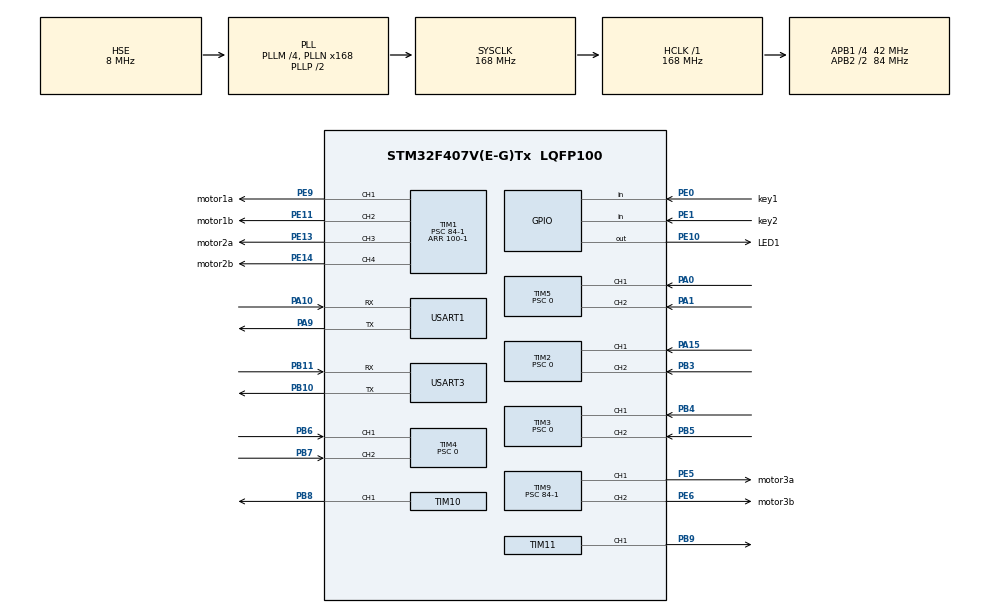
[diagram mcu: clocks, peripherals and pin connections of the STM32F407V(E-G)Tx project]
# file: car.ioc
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Mcu.Family=STM32F4
Mcu.Name=STM32F407V(E-G)Tx
Mcu.Package=LQFP100
NVIC.PriorityGroup=NVIC_PRIORITYGROUP_4
NVIC.TIM6_DAC_IRQn=true\:2\:0\:true\:false\:true\:true\:true\:true
NVIC.TIM7_IRQn=true\:0\:0\:false\:false\:true\:true\:true\:true
NVIC.USART1_IRQn=true\:0\:0\:false\:false\:true\:true\:true\:true
PA0-WKUP.GPIO_PuPd=GPIO_PULLUP
PA0-WKUP.Signal=S_TIM5_CH1
PA1.GPIO_PuPd=GPIO_PULLUP
PA1.Signal=S_TIM5_CH2
PA10.Mode=Asynchronous
PA10.Signal=USART1_RX
PA13.Mode=Serial_Wire
PA13.Signal=SYS_JTMS-SWDIO
PA14.Mode=Serial_Wire
PA14.Signal=SYS_JTCK-SWCLK
PA15.GPIO_PuPd=GPIO_PULLUP
PA15.Signal=S_TIM2_CH1_ETR
PA9.Mode=Asynchronous
PA9.Signal=USART1_TX
PB10.Mode=Asynchronous
PB10.Signal=USART3_TX
PB11.Mode=Asynchronous
PB11.Signal=USART3_RX
PB3.GPIO_PuPd=GPIO_PULLUP
PB3.Signal=S_TIM2_CH2
PB4.GPIO_PuPd=GPIO_PULLUP
PB4.Signal=S_TIM3_CH1
PB5.GPIO_PuPd=GPIO_PULLUP
PB5.Signal=S_TIM3_CH2
PB6.GPIO_PuPd=GPIO_PULLUP
PB6.Signal=S_TIM4_CH1
PB7.GPIO_PuPd=GPIO_PULLUP
PB7.Signal=S_TIM4_CH2
PB8.Signal=S_TIM10_CH1
PB9.Signal=S_TIM11_CH1
PE0.GPIO_Label=key1
PE0.Signal=GPIO_Input
PE1.GPIO_Label=key2
PE1.Signal=GPIO_Input
PE10.GPIO_Label=LED1
PE10.Signal=GPIO_Output
PE11.GPIO_Label=motor1b
PE11.Signal=S_TIM1_CH2
PE13.GPIO_Label=motor2a
PE13.Signal=S_TIM1_CH3
PE14.GPIO_Label=motor2b
PE14.Signal=S_TIM1_CH4
PE5.GPIO_Label=motor3a
PE5.Signal=S_TIM9_CH1
PE6.GPIO_Label=motor3b
PE6.Signal=S_TIM9_CH2
PE9.GPIO_Label=motor1a
PE9.Signal=S_TIM1_CH1
PH0-OSC_IN.Mode=HSE-External-Oscillator
PH0-OSC_IN.Signal=RCC_OSC_IN
PH1-OSC_OUT.Mode=HSE-External-Oscillator
PH1-OSC_OUT.Signal=RCC_OSC_OUT
ProjectManager.HeapSize=0x200
ProjectManager.StackSize=0x400
ProjectManager.TargetToolchain=STM32CubeIDE
RCC.48MHZClocksFreq_Value=84000000
RCC.AHBFreq_Value=168000000
RCC.APB1CLKDivider=RCC_HCLK_DIV4
RCC.APB1Freq_Value=42000000
RCC.APB1TimFreq_Value=84000000
RCC.APB2CLKDivider=RCC_HCLK_DIV2
RCC.APB2Freq_Value=84000000
RCC.APB2TimFreq_Value=168000000
RCC.CortexFreq_Value=168000000
RCC.HCLKFreq_Value=168000000
RCC.HSE_VALUE=8000000
RCC.HSI_VALUE=16000000
RCC.LSE_VALUE=32768
RCC.PLLM=4
RCC.PLLN=168
RCC.PLLSourceVirtual=RCC_PLLSOURCE_HSE
RCC.SYSCLKFreq_VALUE=168000000
RCC.SYSCLKSource=RCC_SYSCLKSOURCE_PLLCLK
RCC.VCOOutputFreq_Value=336000000
SH.S_TIM10_CH1.0=TIM10_CH1,PWM Generation1 CH1
SH.S_TIM11_CH1.0=TIM11_CH1,PWM Generation1 CH1
SH.S_TIM1_CH1.0=TIM1_CH1,PWM Generation1 CH1
SH.S_TIM1_CH2.0=TIM1_CH2,PWM Generation2 CH2
SH.S_TIM1_CH3.0=TIM1_CH3,PWM Generation3 CH3
SH.S_TIM1_CH4.0=TIM1_CH4,PWM Generation4 CH4
SH.S_TIM2_CH1_ETR.0=TIM2_CH1,Encoder_Interface
SH.S_TIM2_CH2.0=TIM2_CH2,Encoder_Interface
SH.S_TIM3_CH1.0=TIM3_CH1,Encoder_Interface
SH.S_TIM3_CH2.0=TIM3_CH2,Encoder_Interface
SH.S_TIM4_CH1.0=TIM4_CH1,Encoder_Interface
SH.S_TIM4_CH2.0=TIM4_CH2,Encoder_Interface
SH.S_TIM5_CH1.0=TIM5_CH1,Encoder_Interface
SH.S_TIM5_CH2.0=TIM5_CH2,Encoder_Interface
SH.S_TIM9_CH1.0=TIM9_CH1,PWM Generation1 CH1
SH.S_TIM9_CH2.0=TIM9_CH2,PWM Generation2 CH2
TIM1.Channel-PWM\ Generation1\ CH1=TIM_CHANNEL_1
TIM1.Channel-PWM\ Generation2\ CH2=TIM_CHANNEL_2
TIM1.Channel-PWM\ Generation3\ CH3=TIM_CHANNEL_3
TIM1.Channel-PWM\ Generation4\ CH4=TIM_CHANNEL_4
TIM1.OCFastMode_PWM-PWM\ Generation4\ CH4=TIM_OCFAST_DISABLE
TIM1.Period=100-1
TIM1.Prescaler=84-1
TIM10.Channel=TIM_CHANNEL_1
TIM10.Period=100-1
TIM10.Prescaler=84-1
TIM11.Channel=TIM_CHANNEL_1
TIM11.Period=100-1
TIM11.Prescaler=84-1
TIM2.EncoderMode=TIM_ENCODERMODE_TI12
TIM2.IC1Filter=15
TIM2.IC2Filter=15
TIM2.Period=20000-1
TIM2.Prescaler=0
TIM3.EncoderMode=TIM_ENCODERMODE_TI12
TIM3.IC1Filter=15
TIM3.IC2Filter=15
TIM3.Period=20000-1
TIM3.Prescaler=0
TIM4.EncoderMode=TIM_ENCODERMODE_TI12
TIM4.IC1Filter=15
TIM4.IC2Filter=15
TIM4.Period=20000-1
TIM4.Prescaler=0
TIM5.EncoderMode=TIM_ENCODERMODE_TI12
TIM5.IC1Filter=15
TIM5.IC2Filter=15
TIM5.Period=20000-1
TIM5.Prescaler=0
TIM6.AutoReloadPreload=TIM_AUTORELOAD_PRELOAD_ENABLE
TIM6.Period=8399
TIM6.Prescaler=499
TIM6.TIM_MasterOutputTrigger=TIM_TRGO_RESET
TIM7.AutoReloadPreload=TIM_AUTORELOAD_PRELOAD_DISABLE
TIM7.Period=40000
TIM7.Prescaler=21000-1
TIM7.TIM_MasterOutputTrigger=TIM_TRGO_RESET
TIM9.Channel-PWM\ Generation1\ CH1=TIM_CHANNEL_1
TIM9.Channel-PWM\ Generation2\ CH2=TIM_CHANNEL_2
TIM9.Period=100-1
TIM9.Prescaler=84-1
USART1.VirtualMode=VM_ASYNC
USART3.VirtualMode=VM_ASYNC
VP_TIM10_VS_ClockSourceINT.Mode=Enable_Timer
VP_TIM11_VS_ClockSourceINT.Mode=Enable_Timer
VP_TIM6_VS_ClockSourceINT.Mode=Enable_Timer
VP_TIM7_VS_ClockSourceINT.Mode=Enable_Timer
board=custom

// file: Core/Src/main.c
/* USER CODE BEGIN Header */
/**
  ******************************************************************************
  * @file           : main.c
  * @brief          : Main program body
  ******************************************************************************
  * @attention
  *
  * Copyright (c) 2025 STMicroelectronics.
  * All rights reserved.
  *
  * This software is licensed under terms that can be found in the LICENSE file
  * in the root directory of this software component.
  * If no LICENSE file comes with this software, it is provided AS-IS.
  *
  ******************************************************************************
  */
/* USER CODE END Header */
#include "main.h"
#include "tim.h"
#include "usart.h"
#include "gpio.h"

/* USER CODE BEGIN Includes */
#include "motor.h"
#include "encoder.h"
#include "pid.h"
#include "decoder.h"
#include <string.h>
#include <stdio.h>
#include <stdbool.h>
/* USER CODE END Includes */

/* USER CODE BEGIN PM */
//volatile short encoderPulse[4] = {0};
/* USER CODE END PM */

/* USER CODE BEGIN PV */
	uint8_t CMD[8] = {'0','0','0','0','0','0','0','0',};
	volatile int Vx, Vy, omega;
	volatile bool Speedupdateflag = 0, Pidupdateflag = 0, debug = 0;
	PID_x4 pid;
	WheelSpeeds Targetspeeds, Currentspeeds;
/* USER CODE END PV */

void SystemClock_Config(void);
/* USER CODE BEGIN PFP */
//毫秒延时 //要延时的毫秒数不要超过1500ms
void Delay_ms(uint16_t nms)
{
 uint32_t temp;
 SysTick->LOAD = 9000*nms;
 SysTick->VAL=0X00;//清空计数�?????????????????????????????????????
 SysTick->CTRL=0X01;//使能，减到零是无动作，采用外部时钟源
 do
 {
  temp=SysTick->CTRL;//读取当前倒计数�??
 }while((temp&0x01)&&(!(temp&(1<<16))));//等待时间到达
    SysTick->CTRL=0x00; //关闭计数�?????????????????????????????????????
    SysTick->VAL =0X00; //清空计数�?????????????????????????????????????
}
void MotorRun(int left_front_MotorPWM, int right_front_MotorPWM,int left_behind_MotorPWM, int right_behind_MotorPWM)
{
    // 左前轮 (FL)
    if (left_front_MotorPWM == 0) {
        Motor1_Brake();
    } else if (left_front_MotorPWM > 0) {
        Motor1_Forward((uint8_t)left_front_MotorPWM);
    } else {
        Motor1_Backward((uint8_t)(-left_front_MotorPWM));
    }

    // 右前轮 (FR)
    if (right_front_MotorPWM == 0) {
        Motor2_Brake();
    } else if (right_front_MotorPWM > 0) {
        Motor2_Forward((uint8_t)right_front_MotorPWM);
    } else {
        Motor2_Backward((uint8_t)(-right_front_MotorPWM));
    }

    // 左后轮 (RL)
    if (left_behind_MotorPWM == 0) {
        Motor3_Brake();
    } else if (left_behind_MotorPWM > 0) {
        Motor3_Forward((uint8_t)left_behind_MotorPWM);
    } else {
        Motor3_Backward((uint8_t)(-left_behind_MotorPWM));
    }

    // 右后轮 (RR)
    if (right_behind_MotorPWM == 0) {
        Motor4_Brake();
    } else if (right_behind_MotorPWM > 0) {
        Motor4_Forward((uint8_t)right_behind_MotorPWM);
    } else {
        Motor4_Backward((uint8_t)(-right_behind_MotorPWM));
    }
}
/* USER CODE END PFP */

int main(void)
{

  /* MCU Configuration--------------------------------------------------------*/

  /* Reset of all peripherals, Initializes the Flash interface and the Systick. */
  HAL_Init();

  /* Configure the system clock */
  SystemClock_Config();

  /* Initialize all configured peripherals */
  MX_GPIO_Init();
  MX_TIM1_Init();
  MX_TIM4_Init();
  MX_TIM9_Init();
  MX_TIM2_Init();
  MX_TIM3_Init();
  MX_TIM5_Init();
  MX_TIM6_Init();
  MX_USART1_UART_Init();
  MX_USART3_UART_Init();
  MX_TIM10_Init();
  MX_TIM11_Init();
  MX_TIM7_Init();
  /* USER CODE BEGIN 2 */
  Motor_Init();
  PID_Init_x4(&pid);
  HAL_UART_Receive_IT(&huart1, CMD, 8);
//  HAL_TIM_Base_Start(&htim4);
//  HAL_TIM_Base_Start(&htim1);
  HAL_TIM_Base_Start_IT(&htim6);
  HAL_TIM_Base_Start_IT(&htim7);
  HAL_TIM_Encoder_Start(&htim2, TIM_CHANNEL_ALL);
  HAL_TIM_Encoder_Start(&htim3, TIM_CHANNEL_ALL);
  HAL_TIM_Encoder_Start(&htim4, TIM_CHANNEL_ALL);
  HAL_TIM_Encoder_Start(&htim5, TIM_CHANNEL_ALL);

  HAL_UART_Transmit(&huart1, (uint8_t*)"Reseted", 7, 50);
  HAL_Delay(1000);
  /* USER CODE END 2 */

  /* Infinite loop */
  /* USER CODE BEGIN WHILE */
  while (1)
  {
	 //Motor4_Backward(100);
	 // 调用函数计算每个轮子速度
	  //Targetspeeds.wheel_FL=60;Targetspeeds.wheel_FR=60;Targetspeeds.wheel_RL=60;Targetspeeds.wheel_RR=60;
	 if(Speedupdateflag == 1){
		 //-------------目前使用short值的输入数据，需统一-------------------
		 Targetspeeds = calculateMecanumWheelSpeeds((float)Vx, (float)Vy, (float)omega);
	     Speedupdateflag = 0;
	 }
	 if(1){
		 //-------------演示模式-------------------
		 if(__HAL_TIM_GET_COUNTER(&htim7)<=10000)
		 Targetspeeds = calculateMecanumWheelSpeeds(60, 0, 0);
		 else if(__HAL_TIM_GET_COUNTER(&htim7)<=20000)
		 Targetspeeds = calculateMecanumWheelSpeeds(0, 60, 0);
		 else if(__HAL_TIM_GET_COUNTER(&htim7)<=30000)
		 Targetspeeds = calculateMecanumWheelSpeeds(-60, 0, 0);
		 else
		 Targetspeeds = calculateMecanumWheelSpeeds(0, -60, 0);
	 }
	 if (Pidupdateflag == 1) {

	     // 使用新写的 PID 算法，使用目标速度（speeds）和当前速度（编码器测量值）
	     //speeds.wheel_FL=0;
	     PID_Update(&pid.wheel_FL, Targetspeeds.wheel_FL, Currentspeeds.wheel_FL);
	     PID_Update(&pid.wheel_FR, Targetspeeds.wheel_FR, Currentspeeds.wheel_FR);
	     PID_Update(&pid.wheel_RL, Targetspeeds.wheel_RL, Currentspeeds.wheel_RL);
	     PID_Update(&pid.wheel_RR, Targetspeeds.wheel_RR, Currentspeeds.wheel_RR);

	     // 根据计算的输出值驱动电机
	     MotorRun((int)pid.wheel_FL.output, (int)pid.wheel_FR.output, (int)pid.wheel_RL.output, (int)pid.wheel_RR.output);

		 //MotorRun(-100, 0, 80, 100);

	     Pidupdateflag = 0;
	 }
	 if(debug == 1){

         /* ------------------调试用------------------*/
//	        // 利用 sprintf 将结果附加到 info 数组后面
//	     	 char info[100]="Target:";
//	        sprintf(info + strlen(info), " FL: %6.2f", Targetspeeds.wheel_FL);
//	        sprintf(info + strlen(info), " FR: %6.2f", Targetspeeds.wheel_FR);
//	        sprintf(info + strlen(info), " RL: %6.2f", Targetspeeds.wheel_RL);
//	        sprintf(info + strlen(info), " RR: %6.2f\n", Targetspeeds.wheel_RR);
//	        HAL_UART_Transmit(&huart1, (uint8_t*)info, strlen(info), 50);
	     // 调试输出当前脉冲数据
	     char info1[100] = "Pace:";
	     sprintf(info1 + strlen(info1), " FL: %6.2f", Currentspeeds.wheel_FL);
	     sprintf(info1 + strlen(info1), " FR: %6.2f", Currentspeeds.wheel_FR);
	     sprintf(info1 + strlen(info1), " RL: %6.2f", Currentspeeds.wheel_RL);
	     sprintf(info1 + strlen(info1), " RR: %6.2f\n", Currentspeeds.wheel_RR);
	     HAL_UART_Transmit(&huart1, (uint8_t*)info1, strlen(info1), 100);
	     debug = 0;
	 }
    /* USER CODE END WHILE */

  }
}

void SystemClock_Config(void)
{
  RCC_OscInitTypeDef RCC_OscInitStruct = {0};
  RCC_ClkInitTypeDef RCC_ClkInitStruct = {0};

  /** Configure the main internal regulator output voltage
  */
  __HAL_RCC_PWR_CLK_ENABLE();
  __HAL_PWR_VOLTAGESCALING_CONFIG(PWR_REGULATOR_VOLTAGE_SCALE1);

  /** Initializes the RCC Oscillators according to the specified parameters
  * in the RCC_OscInitTypeDef structure.
  */
  RCC_OscInitStruct.OscillatorType = RCC_OSCILLATORTYPE_HSE;
  RCC_OscInitStruct.HSEState = RCC_HSE_ON;
  RCC_OscInitStruct.PLL.PLLState = RCC_PLL_ON;
  RCC_OscInitStruct.PLL.PLLSource = RCC_PLLSOURCE_HSE;
  RCC_OscInitStruct.PLL.PLLM = 4;
  RCC_OscInitStruct.PLL.PLLN = 168;
  RCC_OscInitStruct.PLL.PLLP = RCC_PLLP_DIV2;
  RCC_OscInitStruct.PLL.PLLQ = 4;
  if (HAL_RCC_OscConfig(&RCC_OscInitStruct) != HAL_OK)
  {
    Error_Handler();
  }

  /** Initializes the CPU, AHB and APB buses clocks
  */
  RCC_ClkInitStruct.ClockType = RCC_CLOCKTYPE_HCLK|RCC_CLOCKTYPE_SYSCLK
                              |RCC_CLOCKTYPE_PCLK1|RCC_CLOCKTYPE_PCLK2;
  RCC_ClkInitStruct.SYSCLKSource = RCC_SYSCLKSOURCE_PLLCLK;
  RCC_ClkInitStruct.AHBCLKDivider = RCC_SYSCLK_DIV1;
  RCC_ClkInitStruct.APB1CLKDivider = RCC_HCLK_DIV4;
  RCC_ClkInitStruct.APB2CLKDivider = RCC_HCLK_DIV2;

  if (HAL_RCC_ClockConfig(&RCC_ClkInitStruct, FLASH_LATENCY_5) != HAL_OK)
  {
    Error_Handler();
  }
}

/* USER CODE BEGIN 4 */
void HAL_UART_RxCpltCallback(UART_HandleTypeDef *huart){
	//可能需要检查是哪一个huart
	if (CMD[0] == 'c' && CMD[7] == 'c') {
	    // 将字符转换为对应的数字值，并计算出最终的 Vx, Vy, omega
	    Vx = (short)((CMD[1] - '0') * 10 + (CMD[2] - '0'));
	    Vy = (short)((CMD[3] - '0') * 10 + (CMD[4] - '0'));
	    omega = (short)((CMD[5] - '0') * 10 + (CMD[6] - '0'));

		Speedupdateflag = 1;
	}
	else if(CMD[0]=='#'&&CMD[1]=='#'&&CMD[2]=='#'){
			   __set_FAULTMASK(1);//禁止所有的可屏蔽中断
			   NVIC_SystemReset();//软件复位
	}
	HAL_UART_Receive_IT(&huart1, CMD, 8);
}
//此处添加了定时器六更新中断回调函数
void HAL_TIM_PeriodElapsedCallback(TIM_HandleTypeDef *htim)
{
  if(htim == (&htim6) && Pidupdateflag == 0)
  {
		 Currentspeeds.wheel_FL = CalculatePulse(GetEncoderPulse0());
		 Currentspeeds.wheel_FR = -CalculatePulse(GetEncoderPulse2());
		 Currentspeeds.wheel_RL = CalculatePulse(GetEncoderPulse1());
		 Currentspeeds.wheel_RR = -CalculatePulse(GetEncoderPulse3());
	  Pidupdateflag = 1;
  }
  else if(htim == (&htim7))
  {
	  debug = 1;

  }
}

/* USER CODE END 4 */

void Error_Handler(void)
{
  __disable_irq();
  while (1)
  {
  }
}
